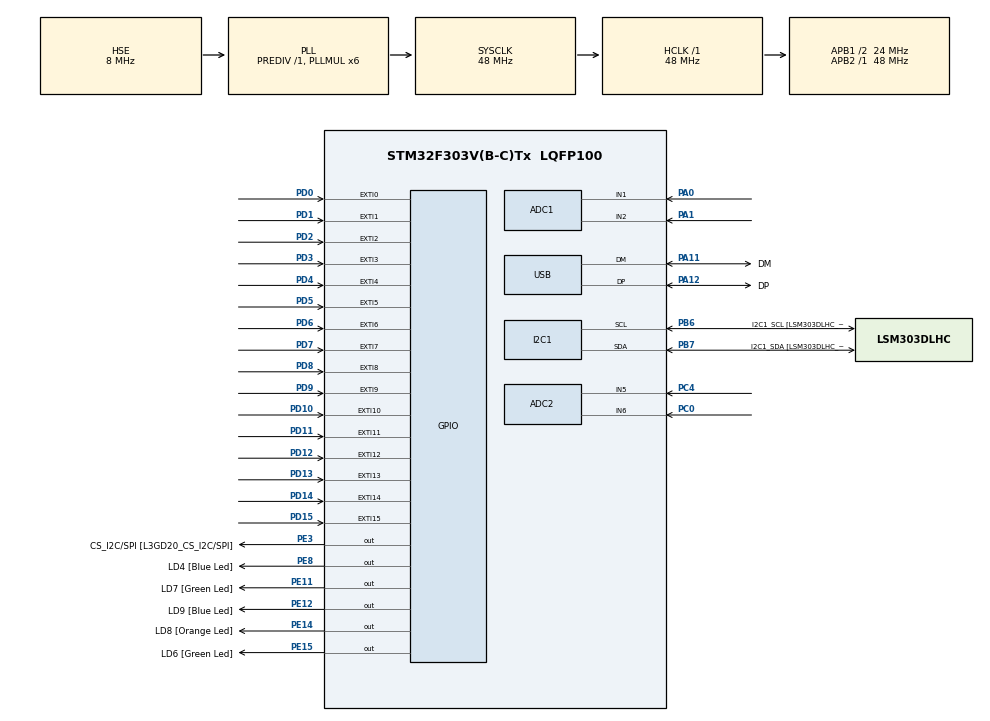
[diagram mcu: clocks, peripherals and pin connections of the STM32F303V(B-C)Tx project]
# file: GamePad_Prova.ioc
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ADC1.Channel-2\#ChannelRegularConversion=ADC_CHANNEL_1
ADC1.Channel-3\#ChannelRegularConversion=ADC_CHANNEL_2
ADC1.ContinuousConvMode=ENABLE
ADC1.DMAContinuousRequests=ENABLE
ADC1.EOCSelection=ADC_EOC_SEQ_CONV
ADC1.NbrOfConversion=2
ADC1.NbrOfConversionFlag=1
ADC1.Offset-2\#ChannelRegularConversion=0
ADC1.Offset-3\#ChannelRegularConversion=0
ADC1.OffsetNumber-2\#ChannelRegularConversion=ADC_OFFSET_NONE
ADC1.OffsetNumber-3\#ChannelRegularConversion=ADC_OFFSET_NONE
ADC1.Rank-2\#ChannelRegularConversion=1
ADC1.Rank-3\#ChannelRegularConversion=2
ADC1.SamplingTime-2\#ChannelRegularConversion=ADC_SAMPLETIME_601CYCLES_5
ADC1.SamplingTime-3\#ChannelRegularConversion=ADC_SAMPLETIME_601CYCLES_5
ADC1.SamplingTimeOPAMP-3\#ChannelRegularConversion=ADC_SAMPLETIME_19CYCLES_5
ADC1.master=1
ADC2.Channel-0\#ChannelRegularConversion=ADC_CHANNEL_5
ADC2.Channel-1\#ChannelRegularConversion=ADC_CHANNEL_6
ADC2.ContinuousConvMode=ENABLE
ADC2.DMAContinuousRequests=ENABLE
ADC2.EOCSelection=ADC_EOC_SEQ_CONV
ADC2.NbrOfConversion=2
ADC2.NbrOfConversionFlag=1
ADC2.Offset-0\#ChannelRegularConversion=0
ADC2.Offset-1\#ChannelRegularConversion=0
ADC2.OffsetNumber-0\#ChannelRegularConversion=ADC_OFFSET_NONE
ADC2.OffsetNumber-1\#ChannelRegularConversion=ADC_OFFSET_NONE
ADC2.Rank-0\#ChannelRegularConversion=1
ADC2.Rank-1\#ChannelRegularConversion=2
ADC2.SamplingTime-0\#ChannelRegularConversion=ADC_SAMPLETIME_601CYCLES_5
ADC2.SamplingTime-1\#ChannelRegularConversion=ADC_SAMPLETIME_601CYCLES_5
ADC2.SamplingTimeOPAMP-1\#ChannelRegularConversion=ADC_SAMPLETIME_19CYCLES_5
Dma.ADC1.0.Direction=DMA_PERIPH_TO_MEMORY
Dma.ADC1.0.Instance=DMA1_Channel1
Dma.ADC1.0.MemDataAlignment=DMA_MDATAALIGN_WORD
Dma.ADC1.0.MemInc=DMA_MINC_ENABLE
Dma.ADC1.0.Mode=DMA_CIRCULAR
Dma.ADC1.0.PeriphDataAlignment=DMA_PDATAALIGN_WORD
Dma.ADC1.0.PeriphInc=DMA_PINC_DISABLE
Dma.ADC1.0.Priority=DMA_PRIORITY_LOW
Dma.ADC2.1.Direction=DMA_PERIPH_TO_MEMORY
Dma.ADC2.1.Instance=DMA2_Channel1
Dma.ADC2.1.MemDataAlignment=DMA_MDATAALIGN_WORD
Dma.ADC2.1.MemInc=DMA_MINC_ENABLE
Dma.ADC2.1.Mode=DMA_CIRCULAR
Dma.ADC2.1.PeriphDataAlignment=DMA_PDATAALIGN_WORD
Dma.ADC2.1.PeriphInc=DMA_PINC_DISABLE
Dma.ADC2.1.Priority=DMA_PRIORITY_LOW
Dma.Request0=ADC1
Dma.Request1=ADC2
I2C1.Timing-I2C=0x2000090E
Mcu.Family=STM32F3
Mcu.Name=STM32F303V(B-C)Tx
Mcu.Package=LQFP100
NVIC.DMA1_Channel1_IRQn=true\:0\:0\:false\:false\:true\:false\:true\:true
NVIC.DMA2_Channel1_IRQn=true\:0\:0\:false\:false\:true\:false\:true\:true
NVIC.EXTI0_IRQn=true\:0\:0\:false\:false\:true\:true\:true\:true
NVIC.EXTI15_10_IRQn=true\:0\:0\:false\:false\:true\:true\:true\:true
NVIC.EXTI1_IRQn=true\:0\:0\:false\:false\:true\:true\:true\:true
NVIC.EXTI2_TSC_IRQn=true\:0\:0\:false\:false\:true\:true\:true\:true
NVIC.EXTI3_IRQn=true\:0\:0\:false\:false\:true\:true\:true\:true
NVIC.EXTI4_IRQn=true\:0\:0\:false\:false\:true\:true\:true\:true
NVIC.EXTI9_5_IRQn=true\:0\:0\:false\:false\:true\:true\:true\:true
NVIC.PriorityGroup=NVIC_PRIORITYGROUP_0
NVIC.USB_LP_CAN_RX0_IRQn=true\:0\:0\:false\:false\:true\:false\:true\:true
PA0.Mode=IN1-Single-Ended
PA0.Signal=ADC1_IN1
PA1.Mode=IN2-Single-Ended
PA1.Signal=ADC1_IN2
PA11.GPIO_Label=DM
PA11.Mode=Device
PA11.Signal=USB_DM
PA12.GPIO_Label=DP
PA12.Mode=Device
PA12.Signal=USB_DP
PA13.GPIO_Label=SWDIO
PA13.Mode=Serial_Wire
PA13.Signal=SYS_JTMS-SWDIO
PA14.GPIO_Label=SWCLK
PA14.Mode=Serial_Wire
PA14.Signal=SYS_JTCK-SWCLK
PA5.Signal=ADC2_IN2
PA6.GPIO_Label=SPI1_MISO [L3GD20_SA0/SDO]
PA6.Signal=SPI1_MISO
PA7.GPIO_Label=SPI1_MISO [L3GD20_SDA/SDI/SDO]
PA7.Signal=SPI1_MOSI
PB3.GPIO_Label=SWO
PB3.Signal=SYS_JTDO-TRACESWO
PB6.GPIO_Label=I2C1_SCL [LSM303DLHC_SCL]
PB6.GPIO_Pu=GPIO_PULLUP
PB6.Mode=I2C
PB6.Signal=I2C1_SCL
PB7.GPIO_Label=I2C1_SDA [LSM303DLHC_SDA]
PB7.GPIO_Pu=GPIO_PULLUP
PB7.Mode=I2C
PB7.Signal=I2C1_SDA
PC0.Signal=ADCx_IN6
PC14-OSC32_IN.GPIO_Label=OSC32_IN
PC14-OSC32_IN.Mode=LSE-External-Oscillator
PC14-OSC32_IN.Signal=RCC_OSC32_IN
PC15-OSC32_OUT.GPIO_Label=OSC32_OUT
PC15-OSC32_OUT.Mode=LSE-External-Oscillator
PC15-OSC32_OUT.Signal=RCC_OSC32_OUT
PC4.Mode=IN5-Single-Ended
PC4.Signal=ADC2_IN5
PD0.GPIO_ModeDefaultEXTI=GPIO_MODE_IT_RISING_FALLING
PD0.GPIO_PuPd=GPIO_NOPULL
PD0.Signal=GPXTI0
PD1.GPIO_ModeDefaultEXTI=GPIO_MODE_IT_RISING_FALLING
PD1.Signal=GPXTI1
PD10.GPIO_ModeDefaultEXTI=GPIO_MODE_IT_RISING_FALLING
PD10.Signal=GPXTI10
PD11.GPIO_ModeDefaultEXTI=GPIO_MODE_IT_RISING_FALLING
PD11.Signal=GPXTI11
PD12.GPIO_ModeDefaultEXTI=GPIO_MODE_IT_RISING_FALLING
PD12.Signal=GPXTI12
PD13.GPIO_ModeDefaultEXTI=GPIO_MODE_IT_RISING_FALLING
PD13.Signal=GPXTI13
PD14.GPIO_ModeDefaultEXTI=GPIO_MODE_IT_RISING_FALLING
PD14.Signal=GPXTI14
PD15.GPIO_ModeDefaultEXTI=GPIO_MODE_IT_RISING_FALLING
PD15.Signal=GPXTI15
PD2.GPIO_ModeDefaultEXTI=GPIO_MODE_IT_RISING_FALLING
PD2.Signal=GPXTI2
PD3.GPIO_ModeDefaultEXTI=GPIO_MODE_IT_RISING_FALLING
PD3.Signal=GPXTI3
PD4.GPIO_ModeDefaultEXTI=GPIO_MODE_IT_RISING_FALLING
PD4.Signal=GPXTI4
PD5.GPIO_ModeDefaultEXTI=GPIO_MODE_IT_RISING_FALLING
PD5.Signal=GPXTI5
PD6.GPIO_ModeDefaultEXTI=GPIO_MODE_IT_RISING_FALLING
PD6.Signal=GPXTI6
PD7.GPIO_ModeDefaultEXTI=GPIO_MODE_IT_RISING_FALLING
PD7.Signal=GPXTI7
PD8.GPIO_ModeDefaultEXTI=GPIO_MODE_IT_RISING_FALLING
PD8.Signal=GPXTI8
PD9.GPIO_ModeDefaultEXTI=GPIO_MODE_IT_RISING_FALLING
PD9.Signal=GPXTI9
PE11.GPIO_Label=LD7 [Green Led]
PE11.Signal=GPIO_Output
PE12.GPIO_Label=LD9 [Blue Led]
PE12.Signal=GPIO_Output
PE14.GPIO_Label=LD8 [Orange Led]
PE14.Signal=GPIO_Output
PE15.GPIO_Label=LD6 [Green Led]
PE15.Signal=GPIO_Output
PE3.GPIO_Label=CS_I2C/SPI [L3GD20_CS_I2C/SPI]
PE3.Signal=GPIO_Output
PE8.GPIO_Label=LD4 [Blue Led]
PE8.Signal=GPIO_Output
PF0-OSC_IN.GPIO_Label=OSC_IN
PF0-OSC_IN.Mode=HSE-External-Oscillator
PF0-OSC_IN.Signal=RCC_OSC_IN
PF1-OSC_OUT.GPIO_Label=OSC_OUT
PF1-OSC_OUT.Mode=HSE-External-Oscillator
PF1-OSC_OUT.Signal=RCC_OSC_OUT
ProjectManager.HeapSize=0x200
ProjectManager.StackSize=0x400
ProjectManager.TargetToolchain=STM32CubeIDE
RCC.AHBFreq_Value=48000000
RCC.APB1CLKDivider=RCC_HCLK_DIV2
RCC.APB1Freq_Value=24000000
RCC.APB1TimFreq_Value=48000000
RCC.APB2Freq_Value=48000000
RCC.APB2TimFreq_Value=48000000
RCC.CortexFreq_Value=48000000
RCC.HCLKFreq_Value=48000000
RCC.HSE_VALUE=8000000
RCC.HSI_VALUE=8000000
RCC.PLLMUL=RCC_PLL_MUL6
RCC.SYSCLKFreq_VALUE=48000000
RCC.SYSCLKSourceVirtual=RCC_SYSCLKSOURCE_PLLCLK
RCC.USBFreq_Value=48000000
SH.ADCx_IN6.0=ADC2_IN6,IN6-Single-Ended
USB_DEVICE.CLASS_NAME_FS=CUSTOM_HID
USB_DEVICE.MANUFACTURER_STRING=KS
USB_DEVICE.PRODUCT_STRING_CUSTOMHID_FS=CSV Pad (PIAShock1)
USB_DEVICE.USBD_CUSTOMHID_OUTREPORT_BUF_SIZE=64
USB_DEVICE.USBD_CUSTOM_HID_REPORT_DESC_SIZE=48
USB_DEVICE.VirtualMode=CustomHid
USB_DEVICE.VirtualModeFS=Custom_Hid_FS
VP_USB_DEVICE_VS_USB_DEVICE_CUSTOM_HID_FS.Mode=CUSTOM_HID_FS
board=STM32F3DISCOVERY

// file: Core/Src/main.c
/* USER CODE BEGIN Header */
/**
  ******************************************************************************
  * @file           : main.c
  * @brief          : Main program body
  ******************************************************************************
  * @attention
  *
  * Copyright (c) 2024 STMicroelectronics.
  * All rights reserved.
  *
  * This software is licensed under terms that can be found in the LICENSE file
  * in the root directory of this software component.
  * If no LICENSE file comes with this software, it is provided AS-IS.
  *
  ******************************************************************************
  */
/* USER CODE END Header */
#include "main.h"
#include "usb_device.h"

/* USER CODE BEGIN Includes */

#include "stm32f3xx_hal.h"
#include "stm32f3xx_hal_conf.h"
#include "usbd_customhid.h"

/* USER CODE END Includes */

/* USER CODE BEGIN PD */
#define USB_GAMEPAD_B1 0x2a

/* USER CODE END PD */

ADC_HandleTypeDef hadc1;
ADC_HandleTypeDef hadc2;
DMA_HandleTypeDef hdma_adc1;
DMA_HandleTypeDef hdma_adc2;

I2C_HandleTypeDef hi2c1;

/* USER CODE BEGIN PV */

extern USBD_HandleTypeDef hUsbDeviceFS;

/* USER CODE END PV */

void SystemClock_Config(void);
static void MX_GPIO_Init(void);
static void MX_DMA_Init(void);
static void MX_I2C1_Init(void);
static void MX_ADC1_Init(void);
static void MX_ADC2_Init(void);

/* USER CODE BEGIN 0 */

typedef struct {

	uint8_t id;
	uint8_t leftAxis[2];
	uint8_t rightAxis[2];
	uint16_t buttons;

}Gamepad_hid_t;

Gamepad_hid_t gamepad;

static uint32_t analogBuffer1[2], analogBuffer2[2];
static uint16_t GPIO_MASK = 0x0500; // 0000 0101 0000 0000

uint8_t gamepadBuffer[7];

void HAL_GPIO_EXTI_Callback(uint16_t GPIO_Pin){

	uint8_t current_pin_state = HAL_GPIO_ReadPin(GPIOD, GPIO_Pin);

	if (current_pin_state)
		gamepad.buttons |= GPIO_Pin;
	else
		gamepad.buttons &= ~GPIO_Pin;
}

/* USER CODE END 0 */

int main(void)
{

  /* MCU Configuration--------------------------------------------------------*/

  /* Reset of all peripherals, Initializes the Flash interface and the Systick. */
  HAL_Init();

  /* Configure the system clock */
  SystemClock_Config();

  /* Initialize all configured peripherals */
  MX_GPIO_Init();
  MX_DMA_Init();
  MX_I2C1_Init();
  MX_USB_DEVICE_Init();
  MX_ADC1_Init();
  MX_ADC2_Init();
  /* USER CODE BEGIN 2 */

  HAL_ADC_Start_DMA(&hadc1, analogBuffer1, 2); // start adc in dma mode for multichannel
  HAL_ADC_Start_DMA(&hadc2, analogBuffer2, 2); // start adc in dma mode for multichannel

  gamepad.id=1;

  gamepad.leftAxis[0] = 0;
  gamepad.leftAxis[1] = 0;

  gamepad.rightAxis[0] = 0;
  gamepad.rightAxis[1] = 0;

  gamepad.buttons = GPIO_MASK;

  /* USER CODE END 2 */

  /* Infinite loop */
  while (1)
  {

    /* USER CODE BEGIN 3 */

	  gamepad.leftAxis[0] = (analogBuffer1[0]-2048)/16;
	  gamepad.leftAxis[1] = (analogBuffer1[1]-2048)/16;

	  gamepad.rightAxis[0] = (analogBuffer2[0]-2048)/16;
	  gamepad.rightAxis[1] = (analogBuffer2[1]-2048)/16;

	  gamepadBuffer[0] = gamepad.id; // id

	  gamepadBuffer[1] = gamepad.leftAxis[0]; // left movement (-1,1)
	  gamepadBuffer[2] = gamepad.leftAxis[1]; // right movement

	  gamepadBuffer[3] = gamepad.rightAxis[0]; // left movement (-1,1)
	  gamepadBuffer[4] = gamepad.rightAxis[1]; // right movement

	  uint16_t buttonsWord = gamepad.buttons ^ GPIO_MASK;

	  gamepadBuffer[5] = (uint8_t) (0x00FF & buttonsWord); // buttons
	  gamepadBuffer[6] = (uint8_t) ((0xFF00 & buttonsWord) >> 8); // buttons

	  USBD_CUSTOM_HID_SendReport(&hUsbDeviceFS, gamepadBuffer, 7);
	  HAL_Delay(100);

  }
  /* USER CODE END 3 */
}

void SystemClock_Config(void)
{
  RCC_OscInitTypeDef RCC_OscInitStruct = {0};
  RCC_ClkInitTypeDef RCC_ClkInitStruct = {0};
  RCC_PeriphCLKInitTypeDef PeriphClkInit = {0};

  /** Initializes the RCC Oscillators according to the specified parameters
  * in the RCC_OscInitTypeDef structure.
  */
  RCC_OscInitStruct.OscillatorType = RCC_OSCILLATORTYPE_HSI|RCC_OSCILLATORTYPE_HSE;
  RCC_OscInitStruct.HSEState = RCC_HSE_ON;
  RCC_OscInitStruct.HSEPredivValue = RCC_HSE_PREDIV_DIV1;
  RCC_OscInitStruct.HSIState = RCC_HSI_ON;
  RCC_OscInitStruct.HSICalibrationValue = RCC_HSICALIBRATION_DEFAULT;
  RCC_OscInitStruct.PLL.PLLState = RCC_PLL_ON;
  RCC_OscInitStruct.PLL.PLLSource = RCC_PLLSOURCE_HSE;
  RCC_OscInitStruct.PLL.PLLMUL = RCC_PLL_MUL6;
  if (HAL_RCC_OscConfig(&RCC_OscInitStruct) != HAL_OK)
  {
    Error_Handler();
  }

  /** Initializes the CPU, AHB and APB buses clocks
  */
  RCC_ClkInitStruct.ClockType = RCC_CLOCKTYPE_HCLK|RCC_CLOCKTYPE_SYSCLK
                              |RCC_CLOCKTYPE_PCLK1|RCC_CLOCKTYPE_PCLK2;
  RCC_ClkInitStruct.SYSCLKSource = RCC_SYSCLKSOURCE_PLLCLK;
  RCC_ClkInitStruct.AHBCLKDivider = RCC_SYSCLK_DIV1;
  RCC_ClkInitStruct.APB1CLKDivider = RCC_HCLK_DIV2;
  RCC_ClkInitStruct.APB2CLKDivider = RCC_HCLK_DIV1;

  if (HAL_RCC_ClockConfig(&RCC_ClkInitStruct, FLASH_LATENCY_1) != HAL_OK)
  {
    Error_Handler();
  }
  PeriphClkInit.PeriphClockSelection = RCC_PERIPHCLK_USB|RCC_PERIPHCLK_I2C1
                              |RCC_PERIPHCLK_ADC12;
  PeriphClkInit.Adc12ClockSelection = RCC_ADC12PLLCLK_DIV1;
  PeriphClkInit.I2c1ClockSelection = RCC_I2C1CLKSOURCE_HSI;
  PeriphClkInit.USBClockSelection = RCC_USBCLKSOURCE_PLL;
  if (HAL_RCCEx_PeriphCLKConfig(&PeriphClkInit) != HAL_OK)
  {
    Error_Handler();
  }
}

static void MX_ADC1_Init(void)
{

  ADC_MultiModeTypeDef multimode = {0};
  ADC_ChannelConfTypeDef sConfig = {0};

  /** Common config
  */
  hadc1.Instance = ADC1;
  hadc1.Init.ClockPrescaler = ADC_CLOCK_ASYNC_DIV1;
  hadc1.Init.Resolution = ADC_RESOLUTION_12B;
  hadc1.Init.ScanConvMode = ADC_SCAN_ENABLE;
  hadc1.Init.ContinuousConvMode = ENABLE;
  hadc1.Init.DiscontinuousConvMode = DISABLE;
  hadc1.Init.ExternalTrigConvEdge = ADC_EXTERNALTRIGCONVEDGE_NONE;
  hadc1.Init.ExternalTrigConv = ADC_SOFTWARE_START;
  hadc1.Init.DataAlign = ADC_DATAALIGN_RIGHT;
  hadc1.Init.NbrOfConversion = 2;
  hadc1.Init.DMAContinuousRequests = ENABLE;
  hadc1.Init.EOCSelection = ADC_EOC_SEQ_CONV;
  hadc1.Init.LowPowerAutoWait = DISABLE;
  hadc1.Init.Overrun = ADC_OVR_DATA_OVERWRITTEN;
  if (HAL_ADC_Init(&hadc1) != HAL_OK)
  {
    Error_Handler();
  }

  /** Configure the ADC multi-mode
  */
  multimode.Mode = ADC_MODE_INDEPENDENT;
  if (HAL_ADCEx_MultiModeConfigChannel(&hadc1, &multimode) != HAL_OK)
  {
    Error_Handler();
  }

  /** Configure Regular Channel
  */
  sConfig.Channel = ADC_CHANNEL_1;
  sConfig.Rank = ADC_REGULAR_RANK_1;
  sConfig.SingleDiff = ADC_SINGLE_ENDED;
  sConfig.SamplingTime = ADC_SAMPLETIME_601CYCLES_5;
  sConfig.OffsetNumber = ADC_OFFSET_NONE;
  sConfig.Offset = 0;
  if (HAL_ADC_ConfigChannel(&hadc1, &sConfig) != HAL_OK)
  {
    Error_Handler();
  }

  /** Configure Regular Channel
  */
  sConfig.Channel = ADC_CHANNEL_2;
  sConfig.Rank = ADC_REGULAR_RANK_2;
  if (HAL_ADC_ConfigChannel(&hadc1, &sConfig) != HAL_OK)
  {
    Error_Handler();
  }

}

static void MX_ADC2_Init(void)
{

  ADC_ChannelConfTypeDef sConfig = {0};

  /** Common config
  */
  hadc2.Instance = ADC2;
  hadc2.Init.ClockPrescaler = ADC_CLOCK_ASYNC_DIV1;
  hadc2.Init.Resolution = ADC_RESOLUTION_12B;
  hadc2.Init.ScanConvMode = ADC_SCAN_ENABLE;
  hadc2.Init.ContinuousConvMode = ENABLE;
  hadc2.Init.DiscontinuousConvMode = DISABLE;
  hadc2.Init.ExternalTrigConvEdge = ADC_EXTERNALTRIGCONVEDGE_NONE;
  hadc2.Init.ExternalTrigConv = ADC_SOFTWARE_START;
  hadc2.Init.DataAlign = ADC_DATAALIGN_RIGHT;
  hadc2.Init.NbrOfConversion = 2;
  hadc2.Init.DMAContinuousRequests = ENABLE;
  hadc2.Init.EOCSelection = ADC_EOC_SEQ_CONV;
  hadc2.Init.LowPowerAutoWait = DISABLE;
  hadc2.Init.Overrun = ADC_OVR_DATA_OVERWRITTEN;
  if (HAL_ADC_Init(&hadc2) != HAL_OK)
  {
    Error_Handler();
  }

  /** Configure Regular Channel
  */
  sConfig.Channel = ADC_CHANNEL_5;
  sConfig.Rank = ADC_REGULAR_RANK_1;
  sConfig.SingleDiff = ADC_SINGLE_ENDED;
  sConfig.SamplingTime = ADC_SAMPLETIME_601CYCLES_5;
  sConfig.OffsetNumber = ADC_OFFSET_NONE;
  sConfig.Offset = 0;
  if (HAL_ADC_ConfigChannel(&hadc2, &sConfig) != HAL_OK)
  {
    Error_Handler();
  }

  /** Configure Regular Channel
  */
  sConfig.Channel = ADC_CHANNEL_6;
  sConfig.Rank = ADC_REGULAR_RANK_2;
  if (HAL_ADC_ConfigChannel(&hadc2, &sConfig) != HAL_OK)
  {
    Error_Handler();
  }

}

static void MX_I2C1_Init(void)
{

  hi2c1.Instance = I2C1;
  hi2c1.Init.Timing = 0x2000090E;
  hi2c1.Init.OwnAddress1 = 0;
  hi2c1.Init.AddressingMode = I2C_ADDRESSINGMODE_7BIT;
  hi2c1.Init.DualAddressMode = I2C_DUALADDRESS_DISABLE;
  hi2c1.Init.OwnAddress2 = 0;
  hi2c1.Init.OwnAddress2Masks = I2C_OA2_NOMASK;
  hi2c1.Init.GeneralCallMode = I2C_GENERALCALL_DISABLE;
  hi2c1.Init.NoStretchMode = I2C_NOSTRETCH_DISABLE;
  if (HAL_I2C_Init(&hi2c1) != HAL_OK)
  {
    Error_Handler();
  }

  /** Configure Analogue filter
  */
  if (HAL_I2CEx_ConfigAnalogFilter(&hi2c1, I2C_ANALOGFILTER_ENABLE) != HAL_OK)
  {
    Error_Handler();
  }

  /** Configure Digital filter
  */
  if (HAL_I2CEx_ConfigDigitalFilter(&hi2c1, 0) != HAL_OK)
  {
    Error_Handler();
  }

}

static void MX_DMA_Init(void)
{

  /* DMA controller clock enable */
  __HAL_RCC_DMA1_CLK_ENABLE();
  __HAL_RCC_DMA2_CLK_ENABLE();

  /* DMA interrupt init */
  /* DMA1_Channel1_IRQn interrupt configuration */
  HAL_NVIC_SetPriority(DMA1_Channel1_IRQn, 0, 0);
  HAL_NVIC_EnableIRQ(DMA1_Channel1_IRQn);
  /* DMA2_Channel1_IRQn interrupt configuration */
  HAL_NVIC_SetPriority(DMA2_Channel1_IRQn, 0, 0);
  HAL_NVIC_EnableIRQ(DMA2_Channel1_IRQn);

}

static void MX_GPIO_Init(void)
{
  GPIO_InitTypeDef GPIO_InitStruct = {0};

  /* GPIO Ports Clock Enable */
  __HAL_RCC_GPIOE_CLK_ENABLE();
  __HAL_RCC_GPIOC_CLK_ENABLE();
  __HAL_RCC_GPIOF_CLK_ENABLE();
  __HAL_RCC_GPIOA_CLK_ENABLE();
  __HAL_RCC_GPIOD_CLK_ENABLE();
  __HAL_RCC_GPIOB_CLK_ENABLE();

  /*Configure GPIO pin Output Level */
  HAL_GPIO_WritePin(GPIOE, CS_I2C_SPI_Pin|LD4_Pin|LD7_Pin|LD9_Pin
                          |LD8_Pin|LD6_Pin, GPIO_PIN_RESET);

  /*Configure GPIO pins : CS_I2C_SPI_Pin LD4_Pin LD7_Pin LD9_Pin
                           LD8_Pin LD6_Pin */
  GPIO_InitStruct.Pin = CS_I2C_SPI_Pin|LD4_Pin|LD7_Pin|LD9_Pin
                          |LD8_Pin|LD6_Pin;
  GPIO_InitStruct.Mode = GPIO_MODE_OUTPUT_PP;
  GPIO_InitStruct.Pull = GPIO_NOPULL;
  GPIO_InitStruct.Speed = GPIO_SPEED_FREQ_LOW;
  HAL_GPIO_Init(GPIOE, &GPIO_InitStruct);

  /*Configure GPIO pins : SPI1_MISO_Pin SPI1_MISOA7_Pin */
  GPIO_InitStruct.Pin = SPI1_MISO_Pin|SPI1_MISOA7_Pin;
  GPIO_InitStruct.Mode = GPIO_MODE_AF_PP;
  GPIO_InitStruct.Pull = GPIO_NOPULL;
  GPIO_InitStruct.Speed = GPIO_SPEED_FREQ_HIGH;
  GPIO_InitStruct.Alternate = GPIO_AF5_SPI1;
  HAL_GPIO_Init(GPIOA, &GPIO_InitStruct);

  /*Configure GPIO pins : PD8 PD9 PD10 PD11
                           PD12 PD13 PD14 PD15
                           PD0 PD1 PD2 PD3
                           PD4 PD5 PD6 PD7 */
  GPIO_InitStruct.Pin = GPIO_PIN_8|GPIO_PIN_9|GPIO_PIN_10|GPIO_PIN_11
                          |GPIO_PIN_12|GPIO_PIN_13|GPIO_PIN_14|GPIO_PIN_15
                          |GPIO_PIN_0|GPIO_PIN_1|GPIO_PIN_2|GPIO_PIN_3
                          |GPIO_PIN_4|GPIO_PIN_5|GPIO_PIN_6|GPIO_PIN_7;
  GPIO_InitStruct.Mode = GPIO_MODE_IT_RISING_FALLING;
  GPIO_InitStruct.Pull = GPIO_NOPULL;
  HAL_GPIO_Init(GPIOD, &GPIO_InitStruct);

  /* EXTI interrupt init*/
  HAL_NVIC_SetPriority(EXTI0_IRQn, 0, 0);
  HAL_NVIC_EnableIRQ(EXTI0_IRQn);

  HAL_NVIC_SetPriority(EXTI1_IRQn, 0, 0);
  HAL_NVIC_EnableIRQ(EXTI1_IRQn);

  HAL_NVIC_SetPriority(EXTI2_TSC_IRQn, 0, 0);
  HAL_NVIC_EnableIRQ(EXTI2_TSC_IRQn);

  HAL_NVIC_SetPriority(EXTI3_IRQn, 0, 0);
  HAL_NVIC_EnableIRQ(EXTI3_IRQn);

  HAL_NVIC_SetPriority(EXTI4_IRQn, 0, 0);
  HAL_NVIC_EnableIRQ(EXTI4_IRQn);

  HAL_NVIC_SetPriority(EXTI9_5_IRQn, 0, 0);
  HAL_NVIC_EnableIRQ(EXTI9_5_IRQn);

  HAL_NVIC_SetPriority(EXTI15_10_IRQn, 0, 0);
  HAL_NVIC_EnableIRQ(EXTI15_10_IRQn);

}

void Error_Handler(void)
{
  __disable_irq();
  while (1)
  {
  }
}
